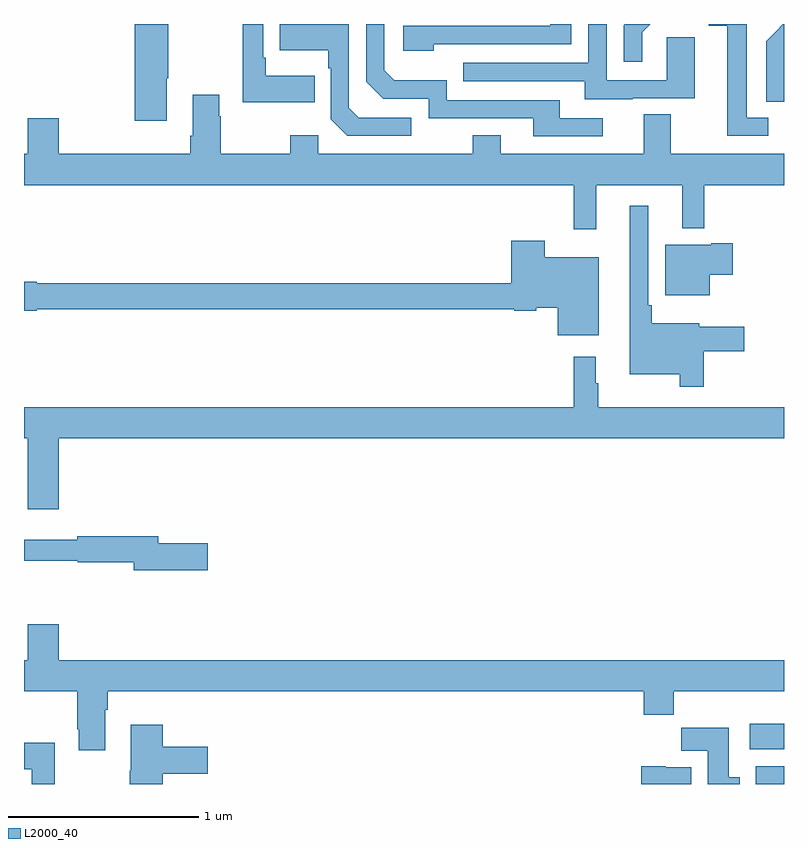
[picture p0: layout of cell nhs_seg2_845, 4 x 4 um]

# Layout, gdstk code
import gdstk
lib = gdstk.Library(unit=1e-6, precision=1e-09)
def R(c, l, rs):  # rectangles x0, y0, x1, y1
    for r in rs: c.add(gdstk.rectangle(r[:2], r[2:], *l))
def P(c, l, *ps):  # polygons
    for p in ps: c.add(gdstk.Polygon(p, *l))
L2000_40 = (2000, 40)

nhs_seg2_845 = lib.new_cell('nhs_seg2_845')
R(nhs_seg2_845, L2000_40, [(156.851,661.8,157,661.894), (156.819,661.982,157,662.116)])
P(nhs_seg2_845, L2000_40, [(157,665.8),(156.994,665.8),(156.978,665.784),(156.979,665.783),(156.906,665.71),(156.906,665.392),(157,665.392)],
  [(155.156,665.694),(155.88,665.694),(155.88,665.8),(155.771,665.8),(155.771,665.79),(154.995,665.79),(154.995,665.66),(155.156,665.66)],
  [(156.205,665.409),(156.529,665.409),(156.529,665.729),(156.384,665.729),(156.384,665.505),(156.066,665.505),(156.066,665.8),(155.97,665.8),(155.97,665.595),(155.311,665.595),(155.311,665.499),(155.951,665.499),(155.951,665.405),(156.205,665.405)],
  [(154.529,665.527),(154.273,665.527),(154.273,665.623),(154.26,665.623),(154.26,665.8),(154.152,665.8),(154.152,665.387),(154.529,665.387)],
  [(156.046,665.304),(155.821,665.304),(155.821,665.4),(155.226,665.4),(155.226,665.503),(154.949,665.503),(154.896,665.556),(154.896,665.8),(154.8,665.8),(154.8,665.496),(154.89,665.406),(155.13,665.406),(155.13,665.304),(155.681,665.304),(155.681,665.208),(156.046,665.208)],
  [(156.916,665.307),(156.805,665.307),(156.805,665.8),(156.605,665.8),(156.605,665.792),(156.701,665.792),(156.701,665.211),(156.916,665.211)],
  [(156.253,665.757),(156.296,665.8),(156.162,665.8),(156.156,665.794),(156.156,665.601),(156.253,665.601)],
  [(153.751,665.515),(153.759,665.515),(153.759,665.8),(153.584,665.8),(153.584,665.292),(153.751,665.292)],
  [(155.038,665.307),(154.761,665.307),(154.71,665.358),(154.71,665.8),(154.345,665.8),(154.345,665.663),(154.602,665.663),(154.602,665.567),(154.614,665.567),(154.614,665.298),(154.701,665.211),(155.038,665.211)],
  [(156.011,664.952),(156.464,664.952),(156.464,664.724),(156.581,664.724),(156.581,664.952),(157,664.952),(157,665.116),(156.403,665.116),(156.403,665.324),(156.263,665.324),(156.263,665.116),(155.509,665.116),(155.509,665.215),(155.362,665.215),(155.362,665.116),(154.548,665.116),(154.548,665.215),(154.402,665.215),(154.402,665.116),(154.035,665.116),(154.035,665.315),(154.027,665.315),(154.027,665.428),(153.887,665.428),(153.887,665.212),(153.875,665.212),(153.875,665.116),(153.184,665.116),(153.184,665.305),(153.02,665.305),(153.02,665.116),(153,665.116),(153,664.952),(155.893,664.952),(155.893,664.719),(156.011,664.719)],
  [(156.578,664.078),(156.79,664.078),(156.79,664.207),(156.555,664.207),(156.555,664.225),(156.305,664.225),(156.305,664.321),(156.285,664.321),(156.285,664.843),(156.188,664.843),(156.188,663.956),(156.45,663.956),(156.45,663.891),(156.578,663.891)],
  [(156.025,664.573),(155.742,664.573),(155.742,664.66),(155.564,664.66),(155.564,664.436),(153.066,664.436),(153.066,664.444),(153,664.444),(153,664.292),(153.066,664.292),(153.066,664.3),(155.58,664.3),(155.58,664.292),(155.697,664.292),(155.697,664.307),(155.81,664.307),(155.81,664.163),(156.025,664.163)],
  [(156.61,664.481),(156.73,664.481),(156.73,664.647),(156.617,664.647),(156.617,664.639),(156.374,664.639),(156.374,664.373),(156.61,664.373)],
  [(153.184,663.62),(157,663.62),(157,663.784),(156.022,663.784),(156.022,663.908),(156.01,663.908),(156.01,664.048),(155.893,664.048),(155.893,663.784),(153,663.784),(153,663.62),(153.02,663.62),(153.02,663.246),(153.184,663.246)],
  [(153.967,663.068),(153.706,663.068),(153.706,663.104),(153.28,663.104),(153.28,663.085),(153,663.085),(153,662.976),(153.282,662.976),(153.282,662.968),(153.578,662.968),(153.578,662.926),(153.967,662.926)],
  [(153.427,662.192),(153.44,662.192),(153.44,662.288),(156.263,662.288),(156.263,662.164),(156.419,662.164),(156.419,662.288),(157,662.288),(157,662.452),(153.184,662.452),(153.184,662.641),(153.02,662.641),(153.02,662.452),(153,662.452),(153,662.288),(153.28,662.288),(153.28,662.089),(153.287,662.089),(153.287,661.977),(153.427,661.977)],
  [(153.731,661.853),(153.967,661.853),(153.967,661.995),(153.731,661.995),(153.731,662.113),(153.563,662.113),(153.563,661.869),(153.556,661.869),(153.556,661.8),(153.731,661.8)],
  [(156.766,661.836),(156.709,661.836),(156.709,662.095),(156.46,662.095),(156.46,661.976),(156.599,661.976),(156.599,661.8),(156.766,661.8)],
  [(153.163,662.017),(153,662.017),(153,661.877),(153.042,661.877),(153.042,661.8),(153.163,661.8)],
  [(156.511,661.888),(156.378,661.888),(156.378,661.894),(156.248,661.894),(156.248,661.8),(156.511,661.8)])

lib.write_gds('nhs_seg2_845.gds')
